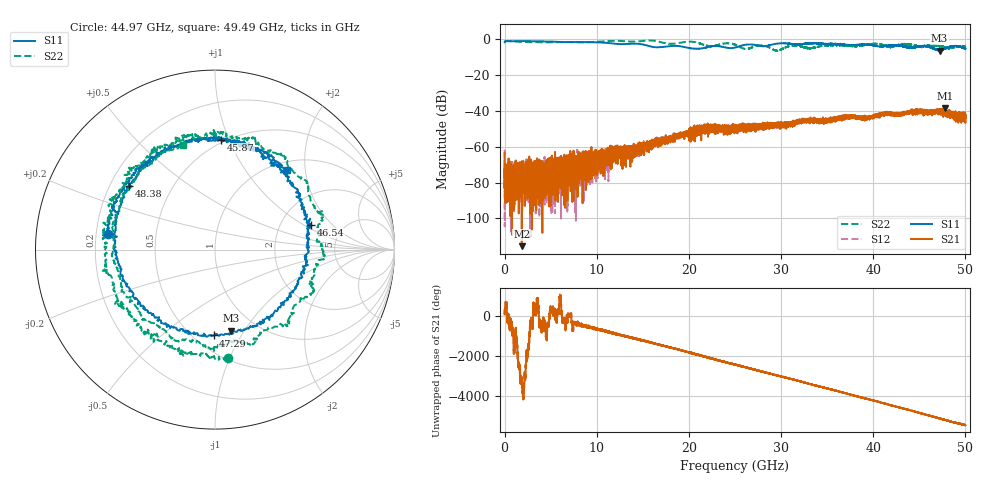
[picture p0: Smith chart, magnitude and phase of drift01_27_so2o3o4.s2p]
!Created with skrf (http://scikit-rf.org).
# Hz S RI R 50.0
!freq ReS11 ImS11 ReS21 ImS21 ReS12 ImS12 ReS22 ImS22
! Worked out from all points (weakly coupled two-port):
!   10001 points, 300 kHz to 50 GHz, reference 50 ohm
!   highest |S21| = -38.82 dB at 47.77 GHz (marker M1); lowest = -115.4 dB at 1.865 GHz (marker M2)
!   lowest |S11| = -6.7 dB at 47.2 GHz (marker M3), VSWR 2.71, Z = 38.2 - j43.8 ohm
!   |S11| at or under -10 dB: nowhere
!   |S22| runs from -6.9 to -1.0 dB; largest |S21 - S12| = 0.0038
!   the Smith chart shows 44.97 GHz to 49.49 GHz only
!   S11 on the Smith chart (normalised r, x): 44.97 GHz: 0.25, +0.07; 45.87 GHz: 0.48, +0.94; 46.54 GHz: 2.94, +1.18; 47.29 GHz: 0.62, -0.77; 48.38 GHz: 0.28, +0.31; 49.49 GHz: 1.16, +1.60
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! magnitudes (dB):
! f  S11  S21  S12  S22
! 300 kHz  -2.0  -63.6  -61.7  -1.3
! 255.3 MHz  -1.4  -75.1  -75.5  -1.4
! 1.865 GHz  -1.4  -115.4  -77.5  -1.8
! 4.595 GHz  -1.6  -78.4  -73.1  -2.1
! 8.335 GHz  -1.9  -66.4  -69.5  -2.1
! 16.67 GHz  -4.8  -56.0  -56.1  -1.6
! 21.8 GHz  -5.0  -50.8  -50.5  -3.7
! 25 GHz  -5.0  -51.0  -50.2  -3.4
! 28.09 GHz  -4.3  -48.1  -49.7  -3.8
! 29.52 GHz  -2.8  -47.8  -48.0  -6.7
! 31.27 GHz  -3.1  -46.4  -46.9  -4.0
! 33.34 GHz  -2.6  -46.3  -45.9  -5.3
! 41.67 GHz  -3.9  -41.5  -41.5  -4.5
! 44.97 GHz  -4.4  -40.3  -40.3  -4.3
! 45.87 GHz  -4.3  -42.1  -41.1  -4.2
! 46.54 GHz  -5.2  -39.9  -41.1  -3.7
! 47.2 GHz  -6.7  -40.4  -40.4  -4.3
! 47.29 GHz  -6.4  -40.7  -40.1  -4.0
! 47.77 GHz  -5.5  -38.8  -41.6  -4.8
! 48.38 GHz  -4.5  -41.2  -41.7  -5.4
! 49.49 GHz  -4.5  -44.8  -42.5  -4.3
! 50 GHz  -5.6  -42.3  -42.5  -4.2
